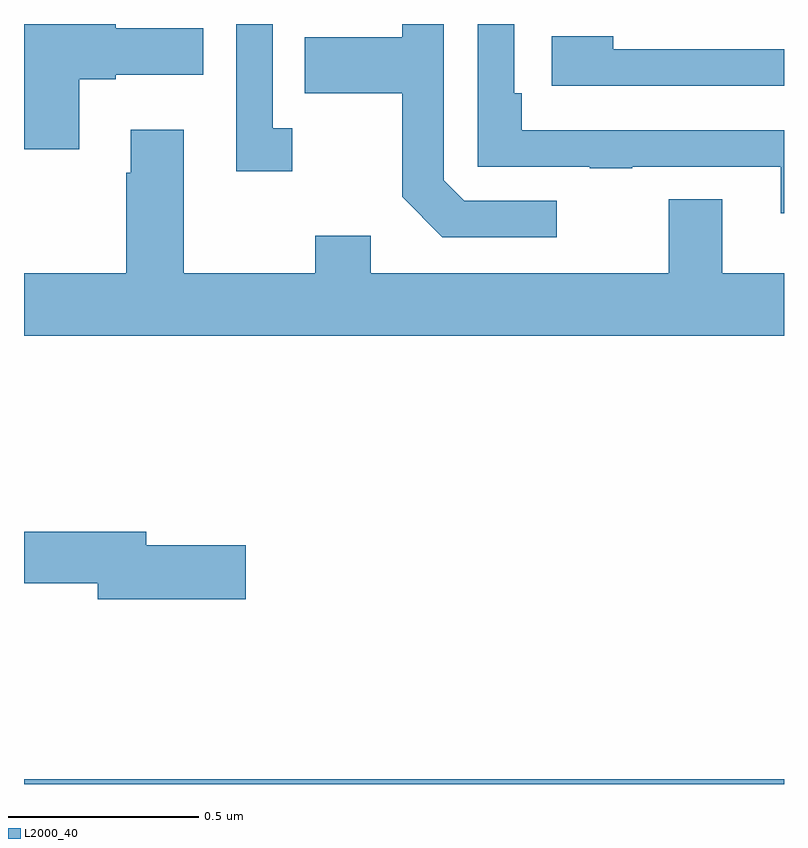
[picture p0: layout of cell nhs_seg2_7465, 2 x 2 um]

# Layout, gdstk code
import gdstk
lib = gdstk.Library(unit=1e-6, precision=1e-09)
def R(c, l, rs):  # rectangles x0, y0, x1, y1
    for r in rs: c.add(gdstk.rectangle(r[:2], r[2:], *l))
def P(c, l, *ps):  # polygons
    for p in ps: c.add(gdstk.Polygon(p, *l))
L2000_40 = (2000, 40)

nhs_seg2_7465 = lib.new_cell('nhs_seg2_7465')
R(nhs_seg2_7465, L2000_40, [(204,635.8,206,635.812)])
P(nhs_seg2_7465, L2000_40, [(204.145,637.655),(204.241,637.655),(204.241,637.667),(204.472,637.667),(204.472,637.789),(204.241,637.789),(204.241,637.8),(204,637.8),(204,637.47),(204.145,637.47)],
  [(204.706,637.526),(204.654,637.526),(204.654,637.8),(204.558,637.8),(204.558,637.413),(204.706,637.413)],
  [(205.402,637.335),(205.158,637.335),(205.104,637.389),(205.104,637.8),(204.996,637.8),(204.996,637.765),(204.739,637.765),(204.739,637.618),(204.996,637.618),(204.996,637.345),(205.101,637.239),(205.402,637.239)],
  [(206,637.52),(205.985,637.52),(205.985,637.521),(205.31,637.521),(205.31,637.618),(205.29,637.618),(205.29,637.8),(205.194,637.8),(205.194,637.425),(205.489,637.425),(205.489,637.42),(205.601,637.42),(205.601,637.425),(205.991,637.425),(205.991,637.302),(206,637.302)],
  [(206,637.734),(205.55,637.734),(205.55,637.768),(205.389,637.768),(205.389,637.638),(206,637.638)],
  [(206,637.144),(205.837,637.144),(205.837,637.339),(205.697,637.339),(205.697,637.144),(204.913,637.144),(204.913,637.243),(204.766,637.243),(204.766,637.144),(204.421,637.144),(204.421,637.522),(204.281,637.522),(204.281,637.409),(204.269,637.409),(204.269,637.144),(204,637.144),(204,636.98),(206,636.98)],
  [(204.583,636.428),(204.322,636.428),(204.322,636.464),(204,636.464),(204,636.328),(204.194,636.328),(204.194,636.286),(204.583,636.286)])

lib.write_gds('nhs_seg2_7465.gds')
